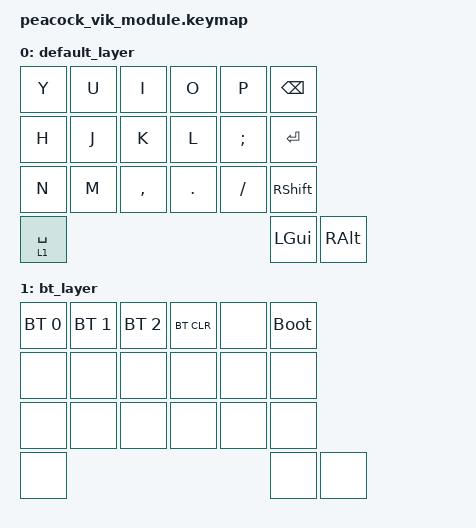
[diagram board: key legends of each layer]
#include <behaviors.dtsi>
#include <dt-bindings/zmk/keys.h>
#include <dt-bindings/zmk/bt.h>

/ {
    keymap {
        compatible = "zmk,keymap";

        default_layer {
            bindings = <
                &kp Y &kp U &kp I     &kp O   &kp P    &kp BSPC
                &kp H &kp J &kp K     &kp L   &kp SEMI &kp RET
                &kp N &kp M &kp COMMA &kp DOT &kp FSLH &kp RSHFT
                &lt 1 SPACE                        &kp LGUI &kp RALT
            >;
        };

        bt_layer {
            bindings = <
                &bt BT_SEL 0 &bt BT_SEL 1 &bt BT_SEL 2 &bt BT_CLR &none         &bootloader
                &none        &none        &none        &none      &none         &none
                &none        &none        &none        &none      &none         &none
                &none                                             &none         &none
            >;
        };
    };
};
